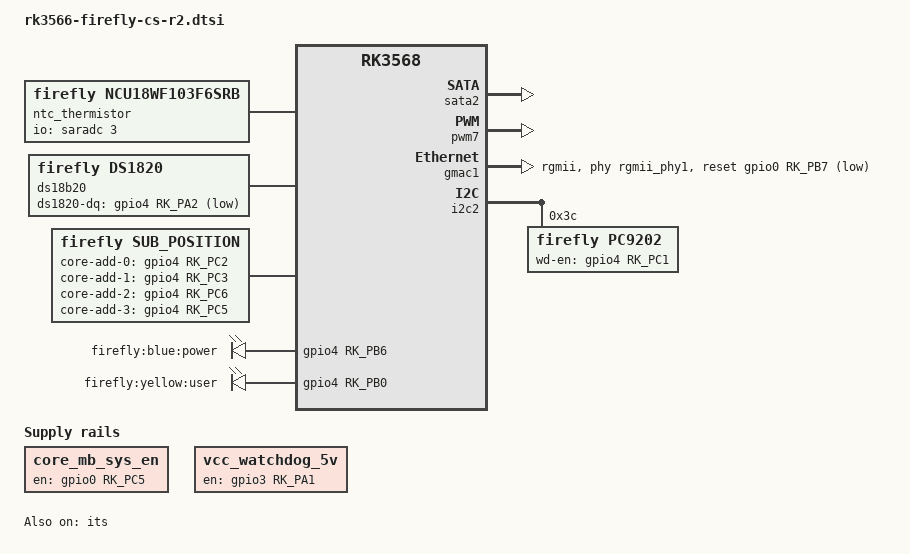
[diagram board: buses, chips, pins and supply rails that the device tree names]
// SPDX-License-Identifier: (GPL-2.0+ OR MIT)
/*
 * Copyright (c) 2020 Rockchip Electronics Co., Ltd.
 *
 */

#include "rk3568-firefly-port.dtsi"
#include "rk3566-diff.dtsi"

/ {
	core_mb_sys_en: core-mb-sys-en {
		compatible = "regulator-fixed";
		enable-active-high;
		gpio = <&gpio0 RK_PC5 GPIO_ACTIVE_HIGH>;
		pinctrl-names = "default";
		pinctrl-0 = <&core_mb_sys_en_pin>;
		regulator-name = "core_mb_sys_en";
		regulator-always-on;
	};

	vcc_watchdog_5v: vcc-watchdog-5v {
		compatible = "regulator-fixed";
		enable-active-high;
		gpio = <&gpio3 RK_PA1 GPIO_ACTIVE_HIGH>;
		pinctrl-names = "default";
		pinctrl-0 = <&vcc5v0_wd_en>;
		regulator-name = "vcc_watchdog_5v";
		regulator-always-on;
	};

	ntc_thermistor: ntc-thermistor {
		status = "okay";
		compatible = "firefly,ncu18wf103f6srb";
		pullup-uv = <1800000>;
		pullup-ohm = <10000>;
		pulldown-ohm = <0>;
		io-channels = <&saradc 3>;
	};

	/* temperature sensor */
	ds18b20: ds18b20-sensor {
		status = "okay";
		compatible = "firefly,ds1820";
		ds1820-dq = <&gpio4 RK_PA2 GPIO_ACTIVE_LOW>;
		//ds1820-dq-1 = <&gpio0 19 GPIO_ACTIVE_LOW>; // old R2 version
		pinctrl-names = "default";
		pinctrl-0 = <&ds18b20_dp_pin>;
	};

	sub_position: sub-position {
		status = "okay";
		compatible = "firefly,sub_position";
		core-add-0 = <&gpio4 RK_PC2 GPIO_ACTIVE_HIGH>;
		core-add-1 = <&gpio4 RK_PC3 GPIO_ACTIVE_HIGH>;
		core-add-2 = <&gpio4 RK_PC6 GPIO_ACTIVE_HIGH>;
		core-add-3 = <&gpio4 RK_PC5 GPIO_ACTIVE_HIGH>;
	};

	firefly_leds: leds {
		compatible = "gpio-leds";
		power_led: power {
			label = "firefly:blue:power";
			linux,default-trigger = "ir-power-click";
			default-state = "on";
			gpios = <&gpio4 RK_PB6 GPIO_ACTIVE_HIGH>;
			pinctrl-names = "default";
			pinctrl-0 = <&led_power>;
		};

		user_led: user {
			label = "firefly:yellow:user";
			linux,default-trigger = "ir-user-click";
			default-state = "off";
			gpios = <&gpio4 RK_PB0 GPIO_ACTIVE_HIGH>;
			pinctrl-names = "default";
			pinctrl-0 = <&led_user>;
		};
	};
};

&sdmmc0 {
	status = "disabled";
};

&hdmi {
	status = "disabled";
};

&route_hdmi {
	status = "disabled";
	connect = <&vp0_out_hdmi>;
};

// iomux with GPIO2_B2(WIFI,host_wake_irq)
&uart8 {
    status = "disabled";
};

&rk809 {
	rtc {
		status = "disabled";
	};
};

&rk809_sound {
	status = "disabled";
};

&rk809_codec {
	status = "disabled";
};

/delete-node/ &pcie30_3v3;
/* pcie multiplex with sata2 */
&pcie2x1 {
    status = "disabled";
};

&sata2 {
	status = "okay";
};
/* choose only one to enable */

&its {
    status = "okay";
};

&pwm4 {
    status = "disabled";
};

&pwm5 {
    status = "disabled";
};

&pwm7 {
    status = "okay";
};

&dfi {
	status = "disabled";
};

&dmc {
	status = "disabled";
};

&gmac1 {
    phy-mode = "rgmii";
    clock_in_out = "input";

    snps,reset-gpio = <&gpio0 RK_PB7 GPIO_ACTIVE_LOW>;
    snps,reset-active-low;
    /* Reset time is 20ms, 100ms for rtl8211f */
    snps,reset-delays-us = <0 20000 100000>;

    assigned-clocks = <&cru SCLK_GMAC1_RX_TX>, <&cru SCLK_GMAC1>;
    assigned-clock-parents = <&cru SCLK_GMAC1_RGMII_SPEED>, <&gmac1_clkin>;

    pinctrl-names = "default";
    pinctrl-0 = <&gmac1m0_miim
             &gmac1m0_tx_bus2
             &gmac1m0_rx_bus2
             &gmac1m0_rgmii_clk
             &gmac1m0_rgmii_bus
             &gmac1m0_clkinout>;

    tx_delay = <0x48>;
    rx_delay = <0x2e>;

    phy-handle = <&rgmii_phy1>;
    status = "okay";
};

&i2c2 {
	status = "okay";
	pinctrl-0 = <&i2c2m1_xfer>;
	/* Watchdog */
    pc9202: pc9202@3c{
        status = "okay";
        compatible = "firefly,pc9202";
        reg = <0x3c>;
        wd-en-gpio = <&gpio4 RK_PC1 GPIO_ACTIVE_HIGH>;
    };
};

&i2c4 {
    status = "disabled";
};

&spdif_out {
	status = "disabled";
};

&rkisp {
	status = "disabled";
};

&rkisp_mmu {
	status = "disabled";
};

&rkisp_vir0 {
	status = "disabled";
};

&rkisp_vir1 {
	status = "disabled";
};

&csi2_dphy_hw {
	status = "disabled";
};

&csi2_dphy0 {
	status = "disabled";
};

&csi2_dphy1 {
	status = "disabled";
};

&csi2_dphy2 {
	status = "disabled";
};

&pinctrl {
	power {
		core_mb_sys_en_pin: core-mb-sys-en-pin {
			rockchip,pins = <0 RK_PC5 RK_FUNC_GPIO &pcfg_pull_up>;
		};
	};

    watchdog {
		vcc5v0_wd_en: vcc5v0-wd-en {
			rockchip,pins = <3 RK_PA1 RK_FUNC_GPIO &pcfg_pull_none>;
		};
	};

	sensor {
		ds18b20_dp_pin: ds18b20-dp-pin {
			rockchip,pins = <4 RK_PA2 RK_FUNC_GPIO &pcfg_pull_none>;
		};
	};

    leds {
		led_power: led-power {
			rockchip,pins = <4 RK_PB6 RK_FUNC_GPIO &pcfg_pull_none>;
		};

		led_user: led-user {
			rockchip,pins = <4 RK_PB0 RK_FUNC_GPIO &pcfg_pull_none>;
		};
	};
};
